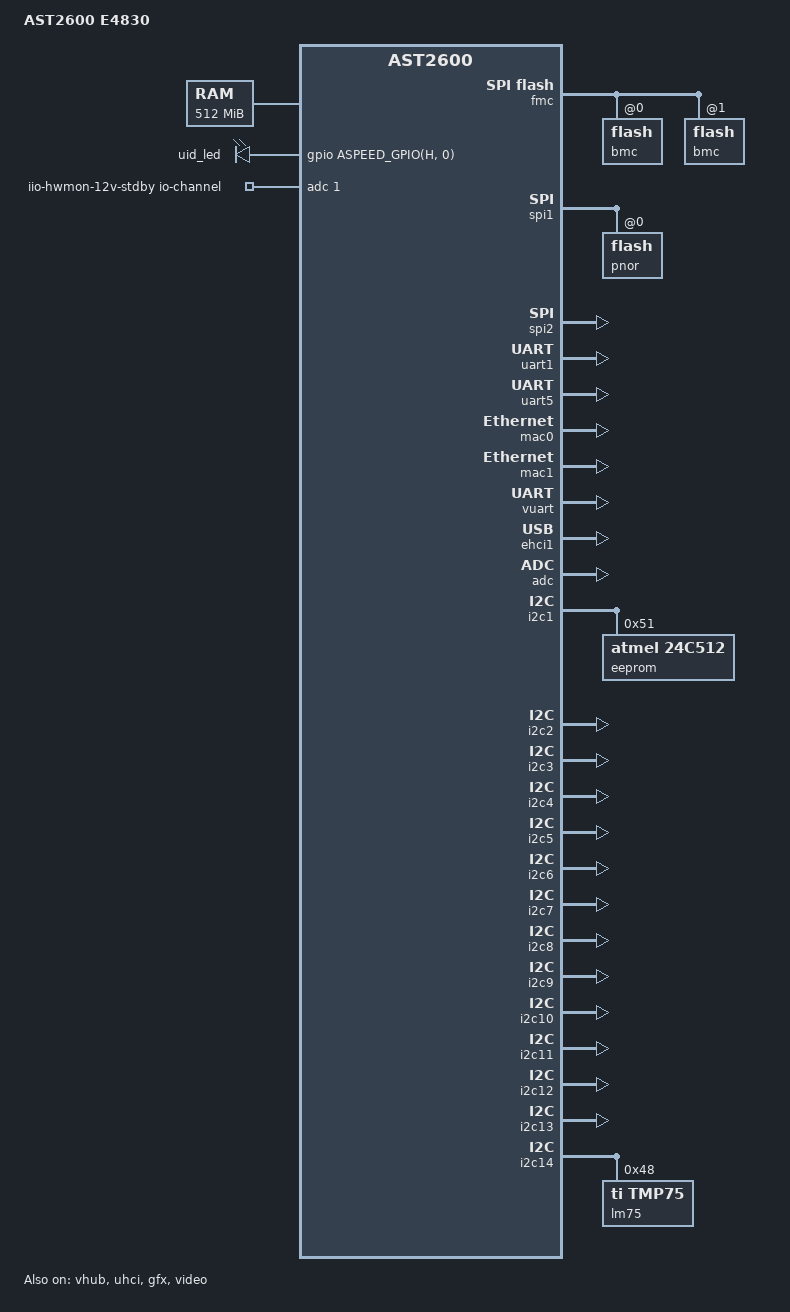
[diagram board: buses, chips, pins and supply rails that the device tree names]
// SPDX-License-Identifier: GPL-2.0+
/dts-v1/;

#include "aspeed-g6.dtsi"
#include <dt-bindings/gpio/aspeed-gpio.h>
#include <dt-bindings/leds/common.h>

/ {
	model = "AST2600 E4830";
	compatible = "aspeed,ast2600";

	aliases {
		serial0 = &uart1;
		serial2 = &uart3;
		serial4 = &uart5;
	};

	chosen {
		stdout-path = &uart5;
		bootargs = "console=tty0 console=ttyS4,115200 earlyprintk";
	};

	memory@80000000 {
		reg = <0x80000000 0x20000000>;
	};

	reserved-memory {
		#address-cells = <1>;
		#size-cells = <1>;
		ranges;

		vga_memory: framebuffer@9f000000 {
			no-map;
			reg = <0x9f000000 0x01000000>; /* 16M */
		};

		gfx_memory: framebuffer {
			size = <0x01000000>;
			alignment = <0x01000000>;
			compatible = "shared-dma-pool";
			reusable;
		};

		video_engine_memory: jpegbuffer {
			size = <0x02000000>;	/* 32M */
			alignment = <0x01000000>;
			compatible = "shared-dma-pool";
			reusable;
		};
	};

	leds {
		compatible = "gpio-leds";
		uid_led {
			gpios = <&gpio ASPEED_GPIO(H, 0) GPIO_ACTIVE_HIGH>;
		};
	};

    iio-hwmon-12v-stdby {              
        compatible = "iio-hwmon";
        io-channels = <&adc 1>;
    };                           
};

&gpio {
        gpio-line-names =
        /*A0-A7*/       "","","","","","","","",
        /*B0-B7*/       "i2c1_alert","i2c2_alert","gpu_base_stdby_en","base_prsnt","","","","",
        /*C0-C7*/       "","","","","","","","",
        /*D0-D7*/       "","","","","","","","",
        /*E0-E7*/       "","","","","","","","",
        /*F0-F7*/       "","","","","","","","",
        /*G0-G7*/       "","","","","","","","",
        /*H0-H7*/       "","","","","","","","",
        /*I0-I7*/       "","","","","","","","",
        /*J0-J7*/       "","","","bmc_ready","","","","",
        /*K0-K7*/       "hgx_fpga_ready","","midp_pwr_brake","pex_rst_2","pex_rst_1","pex_rst_0","pex_strap1","pex_strap0",
        /*L0-L7*/       "fpga_erot_fatal_err","","hmc_prsnt","hmc_ready","","","","",
        /*M0-M7*/       "","","","","","","","",
        /*N0-N7*/       "fpga_erot_rst","midp_erot_base_cpld_rst","midp_wp_hw_ctrl","","","","","",
        /*O0-O7*/       "","","","","","","","psu_workok",
        /*P0-P7*/       "","","psu_alert_n","","","","","psu_detect_n",
        /*Q0-Q7*/       "","","","","","","","",
        /*R0-R7*/       "","","","","","","","",
        /*S0-S7*/       "","","","","","","","",
        /*T0-T7*/       "","","","","","","","",
        /*U0-U7*/       "hgx_pwr_gd","","","fpga_overt","","fpga_therm_overt","","",
        /*V0-V7*/       "","","","","","","","",
        /*W0-W7*/       "","","","","","","","",
        /*X0-X7*/       "","","","","","","","",
        /*Y0-Y7*/       "hgx_pwr_en","hgx_detect","","fpga_erot_recov","","","","",
        /*Z0-Z7*/       "","","","","","","","",
        /*AA0-AA7*/     "","","psu_ac_ok_all","","","","","",
        /*AB0-AB7*/     "","","","","","","","",
        /*AC0-AC7*/     "","","","","","","","";

};

&fmc {
	status = "okay";
	flash@0 {
		status = "okay";
		m25p,fast-read;
		label = "bmc";
#include "aspeed-bmc-nvidia-flash-layout-64.dtsi"
	};
        flash@1 {
                status = "okay";
                m25p,fast-read;
                label = "bmc";
#include "aspeed-bmc-nvidia-flash-layout-64.dtsi"
        };
};

&spi1 {
	status = "okay";
	flash@0 {
		status = "okay";
		m25p,fast-read;
		label = "pnor";
	};
};

&spi2 {
	status = "okay";
};

&uart1 {
	// Rear COM1
	status = "okay";
	pinctrl-names = "default";
	pinctrl-0 = <&pinctrl_txd1_default
				 &pinctrl_rxd1_default>;
};


&uart5 {
	// BMC Debug Console
	status = "okay";
};


&mac0 {
	status = "okay";

	pinctrl-names = "default";
	pinctrl-0 = <&pinctrl_rgmii1_default &pinctrl_mdio1_default>;
};

&mac1 {
	status = "okay";

	pinctrl-names = "default";
	pinctrl-0 = <&pinctrl_rgmii2_default &pinctrl_mdio2_default>;
};

&vuart {
	status = "okay";
};

/*
 * Enable port A as device (via the virtual hub) and port B as
 * host by default on the eval board. This can be easily changed
 * by replacing the override below with &ehci0 { ... } to enable
 * host on both ports.
 */
&vhub {
	status = "okay";
};

&ehci1 {
	status = "okay";
};

&uhci {
	status = "okay";
};

&gfx {
	status = "okay";
	memory-region = <&gfx_memory>;
};

&adc {
    status = "okay";
    pinctrl-names = "default";
    pinctrl-0 = <&pinctrl_adc1_default>;
};

&video {
	status = "okay";
	memory-region = <&video_engine_memory>;
};

&i2c1 {
    status = "okay";
        eeprom@51 {
        compatible = "atmel,24c512";
               reg = <0x51>;
               pagesize = <128>;
               size = <65536>;
            };
};

&i2c2 {             
	status = "okay";

};                  

// AST2600 i2c4
&i2c3 {
	status = "okay";
};

&i2c4 {             
    status = "okay";

};                  

&i2c5 {             
    status = "okay";

};                  

&i2c6 {             
    status = "okay";
};                  

&i2c7 {
	status = "okay";
};

&i2c8 {
    status = "okay";
};

&i2c9 {             
    status = "okay";
};

&i2c10 {
	status = "okay";
};

&i2c11 {
	status = "okay";
};

&i2c12 {
	status = "okay";
};

&i2c13 {
	status = "okay";
};

&i2c14 {
    status = "okay";

    // Midplane thermal
    lm75@48 {
        compatible = "ti,tmp75";
        reg = <0x48>;
    };
};
